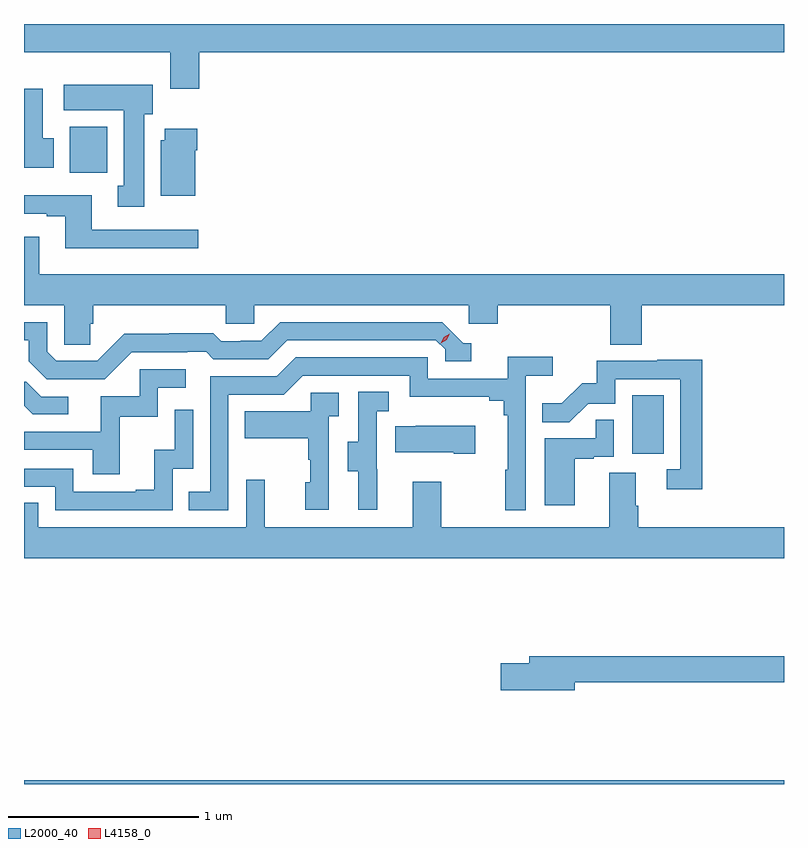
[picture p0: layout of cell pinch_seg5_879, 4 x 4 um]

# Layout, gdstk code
import gdstk
lib = gdstk.Library(unit=1e-6, precision=1e-09)
def R(c, l, rs):  # rectangles x0, y0, x1, y1
    for r in rs: c.add(gdstk.rectangle(r[:2], r[2:], *l))
def P(c, l, *ps):  # polygons
    for p in ps: c.add(gdstk.Polygon(p, *l))
L2000_40 = (2000, 40)
L4158_0 = (4158, 0)

pinch_seg5_879 = lib.new_cell('pinch_seg5_879')
R(pinch_seg5_879, L2000_40, [(877.666,879.548,881.666,879.568), (880.868,881.286,881.032,881.593), (877.907,882.764,878.104,883.006)])
P(pinch_seg5_879, L2000_40, [(878.588,883.4),(881.666,883.4),(881.666,883.548),(877.666,883.548),(877.666,883.4),(878.435,883.4),(878.435,883.206),(878.588,883.206)],
  [(878.299,883.074),(878.344,883.074),(878.344,883.228),(877.875,883.228),(877.875,883.094),(878.192,883.094),(878.192,882.698),(878.159,882.698),(878.159,882.585),(878.299,882.585)],
  [(877.822,882.948),(877.765,882.948),(877.765,883.207),(877.666,883.207),(877.666,882.792),(877.822,882.792)],
  [(878.566,882.884),(878.579,882.884),(878.579,882.997),(878.408,882.997),(878.408,882.936),(878.387,882.936),(878.387,882.644),(878.566,882.644)],
  [(878.584,882.465),(878.023,882.465),(878.023,882.646),(877.666,882.646),(877.666,882.549),(877.787,882.549),(877.787,882.537),(877.883,882.537),(877.883,882.368),(878.584,882.368)],
  [(878.015,881.97),(878.03,881.97),(878.03,882.068),(878.727,882.068),(878.727,881.97),(878.877,881.97),(878.877,882.068),(880.008,882.068),(880.008,881.97),(880.16,881.97),(880.16,882.068),(880.751,882.068),(880.751,881.86),(880.916,881.86),(880.916,882.068),(881.666,882.068),(881.666,882.232),(877.747,882.232),(877.747,882.427),(877.666,882.427),(877.666,882.068),(877.878,882.068),(877.878,881.86),(878.015,881.86)],
  [(878.232,881.82),(878.525,881.82),(878.525,881.823),(878.624,881.823),(878.663,881.784),(878.952,881.784),(879.051,881.883),(879.834,881.883),(879.882,881.835),(879.882,881.772),(880.021,881.772),(880.021,881.868),(879.978,881.868),(879.867,881.979),(879.014,881.979),(878.915,881.88),(878.808,881.88),(878.808,881.877),(878.705,881.877),(878.663,881.92),(878.43,881.92),(878.43,881.917),(878.194,881.917),(878.052,881.775),(877.836,881.775),(877.788,881.823),(877.788,881.979),(877.666,881.979),(877.666,881.883),(877.691,881.883),(877.691,881.773),(877.785,881.679),(878.091,881.679)],
  [(878.742,881.598),(879.033,881.598),(879.132,881.697),(879.696,881.697),(879.696,881.585),(880.115,881.585),(880.115,881.566),(880.192,881.566),(880.192,881.489),(880.211,881.489),(880.211,881.201),(880.2,881.201),(880.2,880.989),(880.308,880.989),(880.308,881.696),(880.45,881.696),(880.45,881.798),(880.211,881.798),(880.211,881.682),(879.792,881.682),(879.792,881.793),(879.095,881.793),(878.996,881.694),(878.646,881.694),(878.646,881.085),(878.533,881.085),(878.533,880.989),(878.742,880.989)],
  [(881.237,881.78),(880.999,881.78),(880.999,881.775),(880.681,881.775),(880.681,881.658),(880.604,881.658),(880.497,881.551),(880.393,881.551),(880.393,881.452),(880.537,881.452),(880.635,881.55),(880.779,881.55),(880.779,881.679),(881.121,881.679),(881.121,881.205),(881.049,881.205),(881.049,881.1),(881.237,881.1)],
  [(878.171,881.481),(878.37,881.481),(878.37,881.634),(878.518,881.634),(878.518,881.73),(878.274,881.73),(878.274,881.589),(878.069,881.589),(878.069,881.403),(877.666,881.403),(877.666,881.307),(878.027,881.307),(878.027,881.178),(878.171,881.178)],
  [(877.9,881.586),(877.758,881.586),(877.678,881.666),(877.666,881.666),(877.666,881.539),(877.712,881.493),(877.9,881.493)],
  [(879.524,881.205),(879.522,881.205),(879.522,881.509),(879.586,881.509),(879.586,881.612),(879.426,881.612),(879.426,881.349),(879.371,881.349),(879.371,881.194),(879.425,881.194),(879.425,880.992),(879.524,880.992)],
  [(879.27,881.483),(879.322,881.483),(879.322,881.607),(879.174,881.607),(879.174,881.509),(878.827,881.509),(878.827,881.369),(879.162,881.369),(879.162,881.255),(879.172,881.255),(879.172,881.136),(879.146,881.136),(879.146,880.992),(879.27,880.992)],
  [(878.448,881.208),(878.556,881.208),(878.556,881.518),(878.46,881.518),(878.46,881.306),(878.351,881.306),(878.351,881.098),(878.255,881.098),(878.255,881.085),(877.926,881.085),(877.926,881.208),(877.666,881.208),(877.666,881.112),(877.83,881.112),(877.83,880.989),(878.448,880.989)],
  [(880.564,881.259),(880.664,881.259),(880.664,881.271),(880.77,881.271),(880.77,881.465),(880.675,881.465),(880.675,881.367),(880.406,881.367),(880.406,881.016),(880.564,881.016)],
  [(880.042,881.434),(879.727,881.434),(879.727,881.431),(879.619,881.431),(879.619,881.294),(879.929,881.294),(879.929,881.287),(880.042,881.287)],
  [(878.835,881.149),(878.835,880.9),(877.74,880.9),(877.74,881.027),(877.666,881.027),(877.666,880.736),(881.666,880.736),(881.666,880.9),(880.898,880.9),(880.898,881.012),(880.885,881.012),(880.885,881.186),(880.745,881.186),(880.745,880.9),(879.861,880.9),(879.861,881.14),(879.713,881.14),(879.713,880.9),(878.933,880.9),(878.933,881.149)],
  [(880.564,880.084),(881.666,880.084),(881.666,880.22),(880.325,880.22),(880.325,880.184),(880.176,880.184),(880.176,880.042),(880.564,880.042)])
P(pinch_seg5_879, L4158_0, [(879.86,881.867),(879.86,881.867),(879.876,881.9),(879.907,881.919),(879.907,881.919),(879.907,881.919),(879.891,881.886),(879.86,881.867)])

lib.write_gds('pinch_seg5_879.gds')
